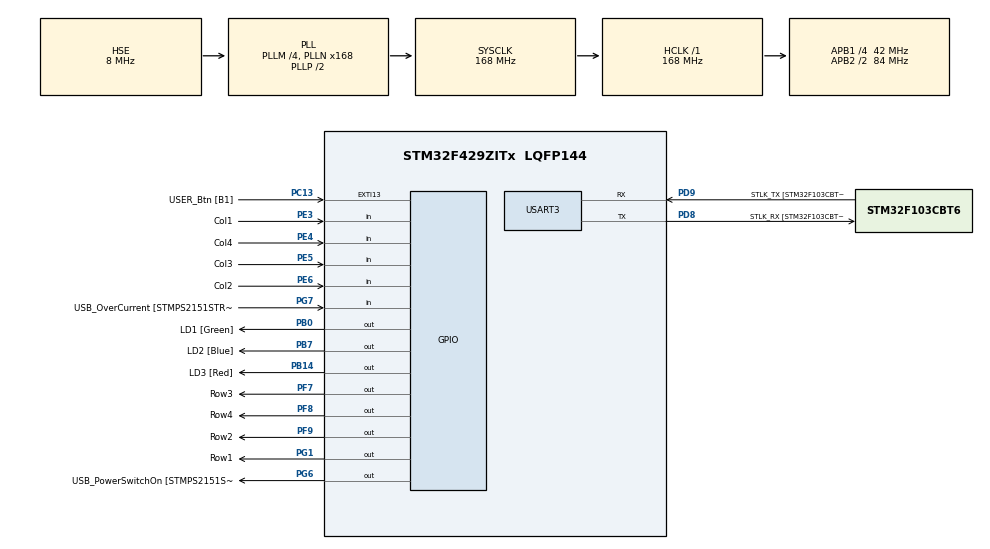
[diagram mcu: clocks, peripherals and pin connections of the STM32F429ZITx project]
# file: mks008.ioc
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Mcu.Family=STM32F4
Mcu.Name=STM32F429ZITx
Mcu.Package=LQFP144
NVIC.PriorityGroup=NVIC_PRIORITYGROUP_4
NVIC.TIM3_IRQn=true\:0\:0\:false\:false\:true\:true\:true\:true
PA1.GPIO_Label=RMII_REF_CLK [LAN8742A-CZ-TR_REFCLK0]
PA1.Signal=ETH_REF_CLK
PA10.GPIO_Label=USB_ID
PA10.Signal=USB_OTG_FS_ID
PA11.GPIO_Label=USB_DM
PA11.Signal=USB_OTG_FS_DM
PA12.GPIO_Label=USB_DP
PA12.Signal=USB_OTG_FS_DP
PA13.GPIO_Label=TMS
PA13.Mode=Serial_Wire
PA13.Signal=SYS_JTMS-SWDIO
PA14.GPIO_Label=TCK
PA14.Mode=Serial_Wire
PA14.Signal=SYS_JTCK-SWCLK
PA2.GPIO_Label=RMII_MDIO [LAN8742A-CZ-TR_MDIO]
PA2.Signal=ETH_MDIO
PA7.GPIO_Label=RMII_CRS_DV [LAN8742A-CZ-TR_CRS_DV]
PA7.Signal=ETH_CRS_DV
PA8.GPIO_Label=USB_SOF [TP1]
PA8.Signal=USB_OTG_FS_SOF
PA9.GPIO_Label=USB_VBUS
PA9.Signal=USB_OTG_FS_VBUS
PB0.GPIO_Label=LD1 [Green]
PB0.Signal=GPIO_Output
PB13.GPIO_Label=RMII_TXD1 [LAN8742A-CZ-TR_TXD1]
PB13.Signal=ETH_TXD1
PB14.GPIO_Label=LD3 [Red]
PB14.Signal=GPIO_Output
PB7.GPIO_Label=LD2 [Blue]
PB7.Signal=GPIO_Output
PC1.GPIO_Label=RMII_MDC [LAN8742A-CZ-TR_MDC]
PC1.Signal=ETH_MDC
PC13.GPIO_Label=USER_Btn [B1]
PC13.Signal=GPXTI13
PC14/OSC32_IN.Mode=LSE-External-Oscillator
PC14/OSC32_IN.Signal=RCC_OSC32_IN
PC15/OSC32_OUT.Mode=LSE-External-Oscillator
PC15/OSC32_OUT.Signal=RCC_OSC32_OUT
PC4.GPIO_Label=RMII_RXD0 [LAN8742A-CZ-TR_RXD0]
PC4.Signal=ETH_RXD0
PC5.GPIO_Label=RMII_RXD1 [LAN8742A-CZ-TR_RXD1]
PC5.Signal=ETH_RXD1
PD8.GPIO_Label=STLK_RX [STM32F103CBT6_PA3]
PD8.Mode=Asynchronous
PD8.Signal=USART3_TX
PD9.GPIO_Label=STLK_TX [STM32F103CBT6_PA2]
PD9.Mode=Asynchronous
PD9.Signal=USART3_RX
PE3.GPIO_Label=Col1
PE3.GPIO_PuPd=GPIO_PULLUP
PE3.Signal=GPIO_Input
PE4.GPIO_Label=Col4
PE4.GPIO_PuPd=GPIO_PULLUP
PE4.Signal=GPIO_Input
PE5.GPIO_Label=Col3
PE5.GPIO_PuPd=GPIO_PULLUP
PE5.Signal=GPIO_Input
PE6.GPIO_Label=Col2
PE6.GPIO_PuPd=GPIO_PULLUP
PE6.Signal=GPIO_Input
PF7.GPIO_Label=Row3
PF7.GPIO_ModeDefaultOutputPP=GPIO_MODE_OUTPUT_OD
PF7.GPIO_PuPd=GPIO_NOPULL
PF7.Signal=GPIO_Output
PF8.GPIO_Label=Row4
PF8.GPIO_ModeDefaultOutputPP=GPIO_MODE_OUTPUT_OD
PF8.GPIO_PuPd=GPIO_NOPULL
PF8.Signal=GPIO_Output
PF9.GPIO_Label=Row2
PF9.GPIO_ModeDefaultOutputPP=GPIO_MODE_OUTPUT_OD
PF9.GPIO_PuPd=GPIO_NOPULL
PF9.Signal=GPIO_Output
PG1.GPIO_Label=Row1
PG1.GPIO_ModeDefaultOutputPP=GPIO_MODE_OUTPUT_OD
PG1.GPIO_PuPd=GPIO_NOPULL
PG1.Signal=GPIO_Output
PG11.GPIO_Label=RMII_TX_EN [LAN8742A-CZ-TR_TXEN]
PG11.Signal=ETH_TX_EN
PG13.GPIO_Label=RMII_TXD0 [LAN8742A-CZ-TR_TXD0]
PG13.Signal=ETH_TXD0
PG6.GPIO_Label=USB_PowerSwitchOn [STMPS2151STR_EN]
PG6.Signal=GPIO_Output
PG7.GPIO_Label=USB_OverCurrent [STMPS2151STR_FAULT]
PG7.Signal=GPIO_Input
PH0/OSC_IN.GPIO_Label=MCO [STM32F103CBT6_PA8]
PH0/OSC_IN.Mode=HSE-External-Clock-Source
PH0/OSC_IN.Signal=RCC_OSC_IN
PH1/OSC_OUT.Mode=HSE-External-Clock-Source
PH1/OSC_OUT.Signal=RCC_OSC_OUT
ProjectManager.HeapSize=0x200
ProjectManager.StackSize=0x400
ProjectManager.TargetToolchain=STM32CubeIDE
RCC.48MHZClocksFreq_Value=48000000
RCC.AHBFreq_Value=168000000
RCC.APB1CLKDivider=RCC_HCLK_DIV4
RCC.APB1Freq_Value=42000000
RCC.APB1TimFreq_Value=84000000
RCC.APB2CLKDivider=RCC_HCLK_DIV2
RCC.APB2Freq_Value=84000000
RCC.APB2TimCLKDivider=2
RCC.APB2TimFreq_Value=168000000
RCC.CortexFreq_Value=168000000
RCC.HCLKFreq_Value=168000000
RCC.HSE_VALUE=8000000
RCC.HSI_VALUE=16000000
RCC.PLLM=4
RCC.PLLMUL=RCC_PLL_MUL9
RCC.PLLN=168
RCC.PLLQ=7
RCC.PLLSourceVirtual=RCC_PLLSOURCE_HSE
RCC.PRESCALERUSB=RCC_USBCLKSOURCE_PLL_DIV1_5
RCC.SYSCLKFreq_VALUE=168000000
RCC.SYSCLKSource=RCC_SYSCLKSOURCE_PLLCLK
RCC.SYSCLKSourceVirtual=RCC_SYSCLKSOURCE_PLLCLK
RCC.USBFreq_Value=48000000
RCC.VCOOutputFreq_Value=336000000
TIM3.AutoReloadPreload=TIM_AUTORELOAD_PRELOAD_ENABLE
TIM3.Period=99
TIM3.Prescaler=8399
USART3.VirtualMode=VM_ASYNC
VP_TIM3_VS_ClockSourceINT.Mode=Internal
board=NUCLEO-F429ZI

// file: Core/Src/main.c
/* USER CODE BEGIN Header */
/**
 ******************************************************************************
 * @file           : main.c
 * @brief          : Main program body
 ******************************************************************************
 * @attention
 *
 * Copyright (c) 2025 STMicroelectronics.
 * All rights reserved.
 *
 * This software is licensed under terms that can be found in the LICENSE file
 * in the root directory of this software component.
 * If no LICENSE file comes with this software, it is provided AS-IS.
 *
 ******************************************************************************
 */
/* USER CODE END Header */
#include "main.h"

/* USER CODE BEGIN Includes */
#include <stdio.h>
/* USER CODE END Includes */

TIM_HandleTypeDef htim3;

UART_HandleTypeDef huart3;

/* USER CODE BEGIN PV */
static volatile char key;
static const char unlockCode[5] = { '7', '9', '3', '2', '#' };
/* USER CODE END PV */

void SystemClock_Config(void);
static void MX_GPIO_Init(void);
static void MX_USART3_UART_Init(void);
static void MX_TIM3_Init(void);

/* USER CODE BEGIN 0 */
int __io_putchar(int ch)
{
	ITM_SendChar(ch);
	return 0;
}

/* USER CODE END 0 */

int main(void)
{

	/* MCU Configuration--------------------------------------------------------*/

	/* Reset of all peripherals, Initializes the Flash interface and the Systick. */
	HAL_Init();

	/* Configure the system clock */
	SystemClock_Config();

	/* Initialize all configured peripherals */
	MX_GPIO_Init();
	MX_USART3_UART_Init();
	MX_TIM3_Init();
	/* USER CODE BEGIN 2 */
	HAL_TIM_Base_Start_IT(&htim3);
	printf("Start\n");
	/* USER CODE END 2 */

	/* Infinite loop */
	while (1)
	{

		/* USER CODE BEGIN 3 */
		static uint8_t codePos = 0;
		static uint32_t lastPressTime = 0;

		if (key != 0)
		{
			printf("pressed '%c'\n", key);
			HAL_Delay(500);
			if (key == unlockCode[codePos])
			{
				codePos++;
				if (codePos == 5)
				{
					HAL_GPIO_WritePin(LD1_GPIO_Port, LD1_Pin, GPIO_PIN_SET);
					printf("unlocked\n");
					codePos = 0;
				}
				lastPressTime = HAL_GetTick();
			}
			else
			{
				HAL_GPIO_WritePin(LD1_GPIO_Port, LD1_Pin, GPIO_PIN_RESET);
				printf("reset\n");
				codePos = 0;
			}
			key = 0;
		}
		if (codePos != 0 && (HAL_GetTick() - lastPressTime) > 3000)
		{
			printf("timeout\n");
			codePos = 0;
		}

	}
	/* USER CODE END 3 */
}

void SystemClock_Config(void)
{
	RCC_OscInitTypeDef RCC_OscInitStruct = {0};
	RCC_ClkInitTypeDef RCC_ClkInitStruct = {0};

	/** Configure the main internal regulator output voltage
	 */
	__HAL_RCC_PWR_CLK_ENABLE();
	__HAL_PWR_VOLTAGESCALING_CONFIG(PWR_REGULATOR_VOLTAGE_SCALE1);

	/** Initializes the RCC Oscillators according to the specified parameters
	 * in the RCC_OscInitTypeDef structure.
	 */
	RCC_OscInitStruct.OscillatorType = RCC_OSCILLATORTYPE_HSE;
	RCC_OscInitStruct.HSEState = RCC_HSE_BYPASS;
	RCC_OscInitStruct.PLL.PLLState = RCC_PLL_ON;
	RCC_OscInitStruct.PLL.PLLSource = RCC_PLLSOURCE_HSE;
	RCC_OscInitStruct.PLL.PLLM = 4;
	RCC_OscInitStruct.PLL.PLLN = 168;
	RCC_OscInitStruct.PLL.PLLP = RCC_PLLP_DIV2;
	RCC_OscInitStruct.PLL.PLLQ = 7;
	if (HAL_RCC_OscConfig(&RCC_OscInitStruct) != HAL_OK)
	{
		Error_Handler();
	}

	/** Initializes the CPU, AHB and APB buses clocks
	 */
	RCC_ClkInitStruct.ClockType = RCC_CLOCKTYPE_HCLK|RCC_CLOCKTYPE_SYSCLK
			|RCC_CLOCKTYPE_PCLK1|RCC_CLOCKTYPE_PCLK2;
	RCC_ClkInitStruct.SYSCLKSource = RCC_SYSCLKSOURCE_PLLCLK;
	RCC_ClkInitStruct.AHBCLKDivider = RCC_SYSCLK_DIV1;
	RCC_ClkInitStruct.APB1CLKDivider = RCC_HCLK_DIV4;
	RCC_ClkInitStruct.APB2CLKDivider = RCC_HCLK_DIV2;

	if (HAL_RCC_ClockConfig(&RCC_ClkInitStruct, FLASH_LATENCY_5) != HAL_OK)
	{
		Error_Handler();
	}
}

static void MX_TIM3_Init(void)
{

	TIM_ClockConfigTypeDef sClockSourceConfig = {0};
	TIM_MasterConfigTypeDef sMasterConfig = {0};

	htim3.Instance = TIM3;
	htim3.Init.Prescaler = 8399;
	htim3.Init.CounterMode = TIM_COUNTERMODE_UP;
	htim3.Init.Period = 99;
	htim3.Init.ClockDivision = TIM_CLOCKDIVISION_DIV1;
	htim3.Init.AutoReloadPreload = TIM_AUTORELOAD_PRELOAD_ENABLE;
	if (HAL_TIM_Base_Init(&htim3) != HAL_OK)
	{
		Error_Handler();
	}
	sClockSourceConfig.ClockSource = TIM_CLOCKSOURCE_INTERNAL;
	if (HAL_TIM_ConfigClockSource(&htim3, &sClockSourceConfig) != HAL_OK)
	{
		Error_Handler();
	}
	sMasterConfig.MasterOutputTrigger = TIM_TRGO_RESET;
	sMasterConfig.MasterSlaveMode = TIM_MASTERSLAVEMODE_DISABLE;
	if (HAL_TIMEx_MasterConfigSynchronization(&htim3, &sMasterConfig) != HAL_OK)
	{
		Error_Handler();
	}

}

static void MX_USART3_UART_Init(void)
{

	huart3.Instance = USART3;
	huart3.Init.BaudRate = 115200;
	huart3.Init.WordLength = UART_WORDLENGTH_8B;
	huart3.Init.StopBits = UART_STOPBITS_1;
	huart3.Init.Parity = UART_PARITY_NONE;
	huart3.Init.Mode = UART_MODE_TX_RX;
	huart3.Init.HwFlowCtl = UART_HWCONTROL_NONE;
	huart3.Init.OverSampling = UART_OVERSAMPLING_16;
	if (HAL_UART_Init(&huart3) != HAL_OK)
	{
		Error_Handler();
	}

}

static void MX_GPIO_Init(void)
{
	GPIO_InitTypeDef GPIO_InitStruct = {0};

	/* GPIO Ports Clock Enable */
	__HAL_RCC_GPIOE_CLK_ENABLE();
	__HAL_RCC_GPIOC_CLK_ENABLE();
	__HAL_RCC_GPIOF_CLK_ENABLE();
	__HAL_RCC_GPIOH_CLK_ENABLE();
	__HAL_RCC_GPIOA_CLK_ENABLE();
	__HAL_RCC_GPIOB_CLK_ENABLE();
	__HAL_RCC_GPIOG_CLK_ENABLE();
	__HAL_RCC_GPIOD_CLK_ENABLE();

	/*Configure GPIO pin Output Level */
	HAL_GPIO_WritePin(GPIOF, Row3_Pin|Row4_Pin|Row2_Pin, GPIO_PIN_RESET);

	/*Configure GPIO pin Output Level */
	HAL_GPIO_WritePin(GPIOB, LD1_Pin|LD3_Pin|LD2_Pin, GPIO_PIN_RESET);

	/*Configure GPIO pin Output Level */
	HAL_GPIO_WritePin(GPIOG, Row1_Pin|USB_PowerSwitchOn_Pin, GPIO_PIN_RESET);

	/*Configure GPIO pins : Col1_Pin Col4_Pin Col3_Pin Col2_Pin */
	GPIO_InitStruct.Pin = Col1_Pin|Col4_Pin|Col3_Pin|Col2_Pin;
	GPIO_InitStruct.Mode = GPIO_MODE_INPUT;
	GPIO_InitStruct.Pull = GPIO_PULLUP;
	HAL_GPIO_Init(GPIOE, &GPIO_InitStruct);

	/*Configure GPIO pin : USER_Btn_Pin */
	GPIO_InitStruct.Pin = USER_Btn_Pin;
	GPIO_InitStruct.Mode = GPIO_MODE_IT_RISING;
	GPIO_InitStruct.Pull = GPIO_NOPULL;
	HAL_GPIO_Init(USER_Btn_GPIO_Port, &GPIO_InitStruct);

	/*Configure GPIO pins : Row3_Pin Row4_Pin Row2_Pin */
	GPIO_InitStruct.Pin = Row3_Pin|Row4_Pin|Row2_Pin;
	GPIO_InitStruct.Mode = GPIO_MODE_OUTPUT_OD;
	GPIO_InitStruct.Pull = GPIO_NOPULL;
	GPIO_InitStruct.Speed = GPIO_SPEED_FREQ_LOW;
	HAL_GPIO_Init(GPIOF, &GPIO_InitStruct);

	/*Configure GPIO pins : RMII_MDC_Pin RMII_RXD0_Pin RMII_RXD1_Pin */
	GPIO_InitStruct.Pin = RMII_MDC_Pin|RMII_RXD0_Pin|RMII_RXD1_Pin;
	GPIO_InitStruct.Mode = GPIO_MODE_AF_PP;
	GPIO_InitStruct.Pull = GPIO_NOPULL;
	GPIO_InitStruct.Speed = GPIO_SPEED_FREQ_VERY_HIGH;
	GPIO_InitStruct.Alternate = GPIO_AF11_ETH;
	HAL_GPIO_Init(GPIOC, &GPIO_InitStruct);

	/*Configure GPIO pins : RMII_REF_CLK_Pin RMII_MDIO_Pin RMII_CRS_DV_Pin */
	GPIO_InitStruct.Pin = RMII_REF_CLK_Pin|RMII_MDIO_Pin|RMII_CRS_DV_Pin;
	GPIO_InitStruct.Mode = GPIO_MODE_AF_PP;
	GPIO_InitStruct.Pull = GPIO_NOPULL;
	GPIO_InitStruct.Speed = GPIO_SPEED_FREQ_VERY_HIGH;
	GPIO_InitStruct.Alternate = GPIO_AF11_ETH;
	HAL_GPIO_Init(GPIOA, &GPIO_InitStruct);

	/*Configure GPIO pins : LD1_Pin LD3_Pin LD2_Pin */
	GPIO_InitStruct.Pin = LD1_Pin|LD3_Pin|LD2_Pin;
	GPIO_InitStruct.Mode = GPIO_MODE_OUTPUT_PP;
	GPIO_InitStruct.Pull = GPIO_NOPULL;
	GPIO_InitStruct.Speed = GPIO_SPEED_FREQ_LOW;
	HAL_GPIO_Init(GPIOB, &GPIO_InitStruct);

	/*Configure GPIO pin : Row1_Pin */
	GPIO_InitStruct.Pin = Row1_Pin;
	GPIO_InitStruct.Mode = GPIO_MODE_OUTPUT_OD;
	GPIO_InitStruct.Pull = GPIO_NOPULL;
	GPIO_InitStruct.Speed = GPIO_SPEED_FREQ_LOW;
	HAL_GPIO_Init(Row1_GPIO_Port, &GPIO_InitStruct);

	/*Configure GPIO pin : RMII_TXD1_Pin */
	GPIO_InitStruct.Pin = RMII_TXD1_Pin;
	GPIO_InitStruct.Mode = GPIO_MODE_AF_PP;
	GPIO_InitStruct.Pull = GPIO_NOPULL;
	GPIO_InitStruct.Speed = GPIO_SPEED_FREQ_VERY_HIGH;
	GPIO_InitStruct.Alternate = GPIO_AF11_ETH;
	HAL_GPIO_Init(RMII_TXD1_GPIO_Port, &GPIO_InitStruct);

	/*Configure GPIO pin : USB_PowerSwitchOn_Pin */
	GPIO_InitStruct.Pin = USB_PowerSwitchOn_Pin;
	GPIO_InitStruct.Mode = GPIO_MODE_OUTPUT_PP;
	GPIO_InitStruct.Pull = GPIO_NOPULL;
	GPIO_InitStruct.Speed = GPIO_SPEED_FREQ_LOW;
	HAL_GPIO_Init(USB_PowerSwitchOn_GPIO_Port, &GPIO_InitStruct);

	/*Configure GPIO pin : USB_OverCurrent_Pin */
	GPIO_InitStruct.Pin = USB_OverCurrent_Pin;
	GPIO_InitStruct.Mode = GPIO_MODE_INPUT;
	GPIO_InitStruct.Pull = GPIO_NOPULL;
	HAL_GPIO_Init(USB_OverCurrent_GPIO_Port, &GPIO_InitStruct);

	/*Configure GPIO pins : USB_SOF_Pin USB_ID_Pin USB_DM_Pin USB_DP_Pin */
	GPIO_InitStruct.Pin = USB_SOF_Pin|USB_ID_Pin|USB_DM_Pin|USB_DP_Pin;
	GPIO_InitStruct.Mode = GPIO_MODE_AF_PP;
	GPIO_InitStruct.Pull = GPIO_NOPULL;
	GPIO_InitStruct.Speed = GPIO_SPEED_FREQ_VERY_HIGH;
	GPIO_InitStruct.Alternate = GPIO_AF10_OTG_FS;
	HAL_GPIO_Init(GPIOA, &GPIO_InitStruct);

	/*Configure GPIO pin : USB_VBUS_Pin */
	GPIO_InitStruct.Pin = USB_VBUS_Pin;
	GPIO_InitStruct.Mode = GPIO_MODE_INPUT;
	GPIO_InitStruct.Pull = GPIO_NOPULL;
	HAL_GPIO_Init(USB_VBUS_GPIO_Port, &GPIO_InitStruct);

	/*Configure GPIO pins : RMII_TX_EN_Pin RMII_TXD0_Pin */
	GPIO_InitStruct.Pin = RMII_TX_EN_Pin|RMII_TXD0_Pin;
	GPIO_InitStruct.Mode = GPIO_MODE_AF_PP;
	GPIO_InitStruct.Pull = GPIO_NOPULL;
	GPIO_InitStruct.Speed = GPIO_SPEED_FREQ_VERY_HIGH;
	GPIO_InitStruct.Alternate = GPIO_AF11_ETH;
	HAL_GPIO_Init(GPIOG, &GPIO_InitStruct);

}

/* USER CODE BEGIN 4 */
void HAL_TIM_PeriodElapsedCallback(TIM_HandleTypeDef *htim)
{
	static uint8_t row = 0;
	static const char keyboard[4][4] = {

			{ '1', '2', '3', 'A' },
			{ '4', '5', '6', 'B' },
			{ '7', '8', '9', 'C' },
			{ '*', '0', '#', 'D' },
	};
	if (key == 0) {
		if (HAL_GPIO_ReadPin(Col1_GPIO_Port, Col1_Pin) == GPIO_PIN_RESET) {
			key = keyboard[row][0]; }
		if (HAL_GPIO_ReadPin(Col2_GPIO_Port, Col2_Pin) == GPIO_PIN_RESET) {
			key = keyboard[row][1]; }
		if (HAL_GPIO_ReadPin(Col3_GPIO_Port, Col3_Pin) == GPIO_PIN_RESET) {
			key = keyboard[row][2]; }
		if (HAL_GPIO_ReadPin(Col4_GPIO_Port, Col4_Pin) == GPIO_PIN_RESET) {
			key = keyboard[row][3]; }
		HAL_GPIO_WritePin(Row1_GPIO_Port, Row1_Pin, GPIO_PIN_SET);
		HAL_GPIO_WritePin(Row2_GPIO_Port, Row2_Pin, GPIO_PIN_SET);
		HAL_GPIO_WritePin(Row3_GPIO_Port, Row3_Pin, GPIO_PIN_SET);
		HAL_GPIO_WritePin(Row4_GPIO_Port, Row4_Pin, GPIO_PIN_SET);
		switch (row) {
		case 0:
			row = 1;
			HAL_GPIO_WritePin(Row2_GPIO_Port, Row2_Pin, GPIO_PIN_RESET);
			break;
		case 1:
			row = 2;
			HAL_GPIO_WritePin(Row3_GPIO_Port, Row3_Pin, GPIO_PIN_RESET);
			break;
		case 2:
			row = 3;
			HAL_GPIO_WritePin(Row4_GPIO_Port, Row4_Pin, GPIO_PIN_RESET);
			break;
		case 3:
			row = 0;
			HAL_GPIO_WritePin(Row1_GPIO_Port, Row1_Pin, GPIO_PIN_RESET);
			break;
		}
	}
}
/* USER CODE END 4 */

void Error_Handler(void)
{
	__disable_irq();
	while (1)
	{
	}
}
